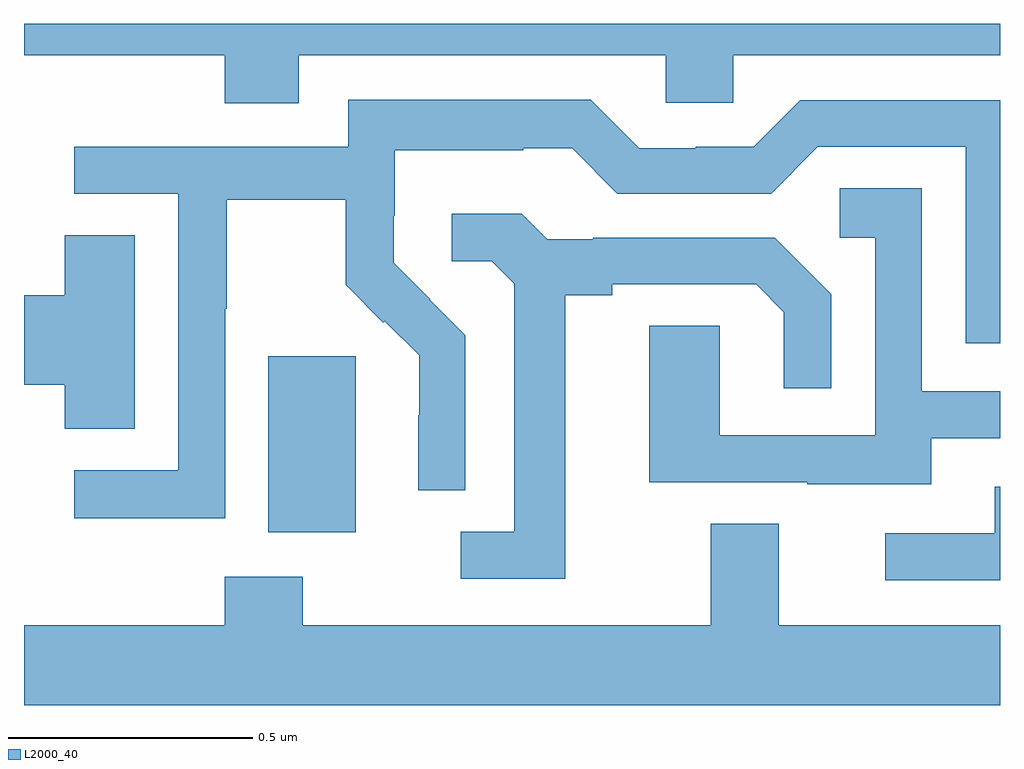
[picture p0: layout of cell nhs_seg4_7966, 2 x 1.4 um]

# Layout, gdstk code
import gdstk
lib = gdstk.Library(unit=1e-6, precision=1e-09)
def R(c, l, rs):  # rectangles x0, y0, x1, y1
    for r in rs: c.add(gdstk.rectangle(r[:2], r[2:], *l))
def P(c, l, *ps):  # polygons
    for p in ps: c.add(gdstk.Polygon(p, *l))
L2000_40 = (2000, 40)

nhs_seg4_7966 = lib.new_cell('nhs_seg4_7966')
R(nhs_seg4_7966, L2000_40, [(209.501,779.858,209.68,780.219)])
P(nhs_seg4_7966, L2000_40, [(209.563,780.836),(210.315,780.836),(210.315,780.738),(210.453,780.738),(210.453,780.836),(211,780.836),(211,780.9),(209,780.9),(209,780.836),(209.411,780.836),(209.411,780.737),(209.563,780.737)],
  [(209.412,780.316),(209.415,780.316),(209.415,780.54),(209.659,780.54),(209.659,780.365),(209.736,780.288),(209.739,780.291),(209.81,780.221),(209.81,780.098),(209.808,780.098),(209.808,779.944),(209.904,779.944),(209.904,780.262),(209.831,780.335),(209.832,780.336),(209.758,780.41),(209.758,780.507),(209.76,780.507),(209.76,780.641),(210.023,780.641),(210.023,780.645),(210.123,780.645),(210.216,780.552),(210.531,780.552),(210.627,780.648),(210.93,780.648),(210.93,780.246),(211,780.246),(211,780.744),(210.591,780.744),(210.495,780.648),(210.377,780.648),(210.377,780.645),(210.261,780.645),(210.161,780.745),(209.664,780.745),(209.664,780.648),(209.103,780.648),(209.103,780.552),(209.316,780.552),(209.316,779.985),(209.103,779.985),(209.103,779.887),(209.412,779.887)],
  [(210.859,780.051),(211,780.051),(211,780.147),(210.84,780.147),(210.84,780.563),(210.672,780.563),(210.672,780.462),(210.744,780.462),(210.744,780.057),(210.426,780.057),(210.426,780.281),(210.281,780.281),(210.281,779.961),(210.605,779.961),(210.605,779.957),(210.859,779.957)],
  [(210.109,780.344),(210.205,780.344),(210.205,780.366),(210.5,780.366),(210.557,780.309),(210.557,780.153),(210.654,780.153),(210.654,780.346),(210.538,780.462),(210.166,780.462),(210.166,780.459),(210.072,780.459),(210.02,780.511),(209.877,780.511),(209.877,780.414),(209.958,780.414),(210.005,780.367),(210.005,779.859),(209.895,779.859),(209.895,779.763),(210.109,779.763)],
  [(209.227,780.467),(209.084,780.467),(209.084,780.344),(209,780.344),(209,780.161),(209.084,780.161),(209.084,780.07),(209.227,780.07)],
  [(211,779.952),(210.989,779.952),(210.989,779.856),(210.765,779.856),(210.765,779.76),(211,779.76)],
  [(211,779.668),(210.547,779.668),(210.547,779.876),(210.407,779.876),(210.407,779.668),(209.571,779.668),(209.571,779.767),(209.411,779.767),(209.411,779.668),(209,779.668),(209,779.504),(211,779.504)])

lib.write_gds('nhs_seg4_7966.gds')
